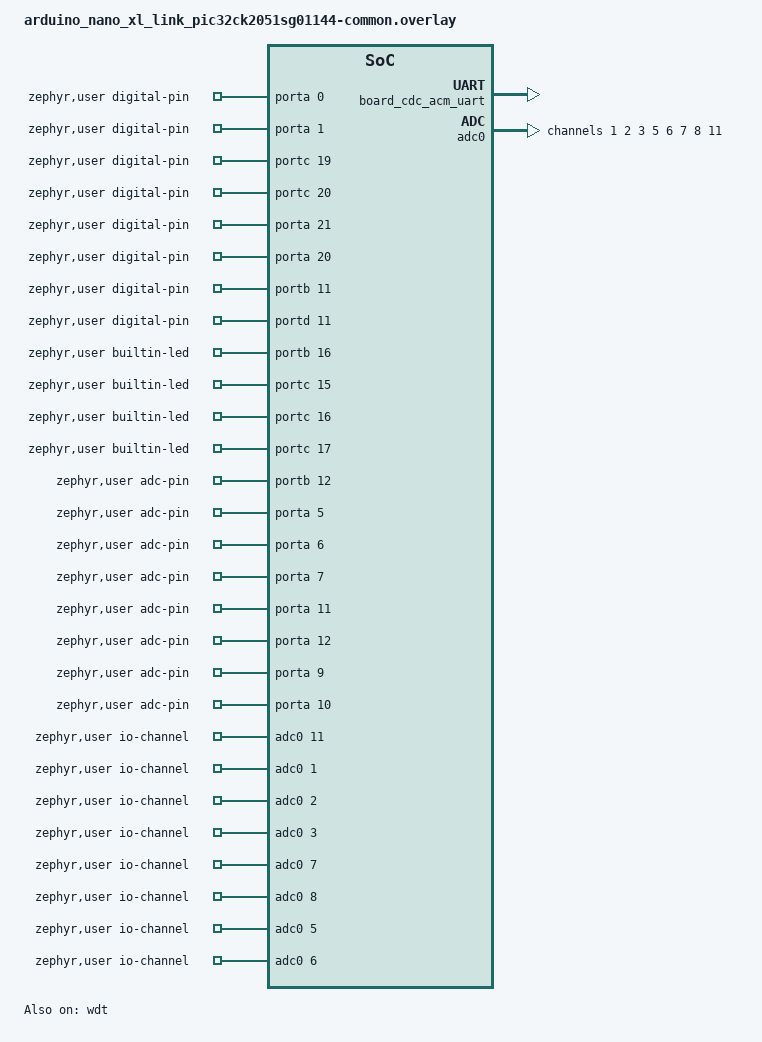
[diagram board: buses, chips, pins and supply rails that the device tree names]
/*
 * Copyright (c) 2026 Arduino SA
 *
 * SPDX-License-Identifier: Apache-2.0
 */

/*
 * Shared between the "nanoxllink" and "nanoxllink_monica" boards, which
 * both build out of this variant directory. Anything that differs between
 * the bare Nano XL Link module and the Monica carrier
 * (console/log routing, TCC2/D7 PWM, "serials" list, "pwms"/"pwm-pin-gpios")
 * is intentionally left out of this file - each variant's own .overlay
 * defines those itself.
 */

#include <zephyr/dt-bindings/adc/adc.h>
#include <zephyr/dt-bindings/pwm/pwm.h>

&zephyr_udc0 {
	board_cdc_acm_uart: board_cdc_acm_uart {
		compatible = "zephyr,cdc-acm-uart";
		status = "okay";
	};
};

&pinctrl {
	sercom2_spi_arduino: sercom2_spi_arduino {
		group1 {
			pinmux = <PC21C_SERCOM2_PAD0>, /* MOSI */
				 <PC23C_SERCOM2_PAD3>, /* MISO */
				 <PC22C_SERCOM2_PAD1>; /* SCK */
		};
	};

	sercom5_spi_arduino: sercom5_spi_arduino {
		group1 {
			pinmux = <PA27C_SERCOM5_PAD3>, /* MOSI */
				 <PA24C_SERCOM5_PAD0>, /* MISO */
				 <PA25C_SERCOM5_PAD1>; /* SCK */
		};
	};

	empty_default: empty_default {
		group1 {
			pinmux = <>;
		};
	};

	adc0_arduino: adc0_arduino {
		group1 {
			pinmux = <PB12B_ADC_VINP11>,
				 <PA5B_ADC_VINP1>,
				 <PA6B_ADC_VINP2>,
				 <PA7B_ADC_VINP3>,
				 <PA11B_ADC_VINP7>,
				 <PA12B_ADC_VINP8>,
				 <PA9B_ADC_VINP5>,
				 <PA10B_ADC_VINP6>;
		};
	};

	tcc1_arduino: tcc1_arduino {
		group1 {
			pinmux = <PC19F_TCC1_WO4>,
				 <PC20F_TCC1_WO5>,
				 <PC15F_TCC1_WO0>,
				 <PC16F_TCC1_WO1>,
				 <PC17F_TCC1_WO2>;
		};
	};

	tcc4_arduino: tcc4_arduino {
		group1 {
			pinmux = <PA21F_TCC4_WO1>,
				 <PA20F_TCC4_WO0>;
		};
	};

	tcc3_arduino_wo0: tcc3_arduino_wo0 {
		group1 {
			pinmux = <PB11G_TCC3_WO6>;
		};
	};

	tcc5_arduino_wo1: tcc5_arduino_wo1 {
		group1 {
			pinmux = <PA23F_TCC5_WO1>;
		};
	};

	tcc6_arduino_wo1: tcc6_arduino_wo1 {
		group1 {
			pinmux = <PB24F_TCC6_WO1>;
		};
	};
};

&adc0 {
	zephyr,deferred-init;
	pinctrl-0 = <&empty_default>;
	pinctrl-1 = <&empty_default>;
	pinctrl-2 = <&adc0_arduino>;
	pinctrl-names = "default", "sleep", "arduino";

	#address-cells = <1>;
	#size-cells = <0>;

	channel@1 {
		reg = <1>;
		zephyr,gain = "ADC_GAIN_1";
		zephyr,reference = "ADC_REF_VDD_1";
		zephyr,acquisition-time = <ADC_ACQ_TIME_MAX>;
		zephyr,resolution = <12>;
	};

	channel@2 {
		reg = <2>;
		zephyr,gain = "ADC_GAIN_1";
		zephyr,reference = "ADC_REF_VDD_1";
		zephyr,acquisition-time = <ADC_ACQ_TIME_MAX>;
		zephyr,resolution = <12>;
	};

	channel@3 {
		reg = <3>;
		zephyr,gain = "ADC_GAIN_1";
		zephyr,reference = "ADC_REF_VDD_1";
		zephyr,acquisition-time = <ADC_ACQ_TIME_MAX>;
		zephyr,resolution = <12>;
	};

	channel@5 {
		reg = <5>;
		zephyr,gain = "ADC_GAIN_1";
		zephyr,reference = "ADC_REF_VDD_1";
		zephyr,acquisition-time = <ADC_ACQ_TIME_MAX>;
		zephyr,resolution = <12>;
	};

	channel@6 {
		reg = <6>;
		zephyr,gain = "ADC_GAIN_1";
		zephyr,reference = "ADC_REF_VDD_1";
		zephyr,acquisition-time = <ADC_ACQ_TIME_MAX>;
		zephyr,resolution = <12>;
	};

	channel@7 {
		reg = <7>;
		zephyr,gain = "ADC_GAIN_1";
		zephyr,reference = "ADC_REF_VDD_1";
		zephyr,acquisition-time = <ADC_ACQ_TIME_MAX>;
		zephyr,resolution = <12>;
	};

	channel@8 {
		reg = <8>;
		zephyr,gain = "ADC_GAIN_1";
		zephyr,reference = "ADC_REF_VDD_1";
		zephyr,acquisition-time = <ADC_ACQ_TIME_MAX>;
		zephyr,resolution = <12>;
	};

	channel@b {
		reg = <11>;
		zephyr,gain = "ADC_GAIN_1";
		zephyr,reference = "ADC_REF_VDD_1";
		zephyr,acquisition-time = <ADC_ACQ_TIME_MAX>;
		zephyr,resolution = <12>;
	};
};

&sercom4 {
	zephyr,deferred-init;
};

&sercom3 {
	zephyr,deferred-init;
};

&sercom2 {
	zephyr,deferred-init;
	pinctrl-0 = <&sercom2_spi_arduino>;
};

&sercom5 {
	zephyr,deferred-init;
	pinctrl-0 = <&sercom5_spi_arduino>;
};

&can0 {
	zephyr,deferred-init;
};

&tcc1 {
	zephyr,deferred-init;
	pinctrl-0 = <&empty_default>;
	pinctrl-1 = <&empty_default>;
	pinctrl-2 = <&tcc1_arduino>;
	pinctrl-names = "default", "sleep", "arduino";
};

&tcc3 {
	zephyr,deferred-init;
	pinctrl-0 = <&empty_default>;
	pinctrl-1 = <&empty_default>;
	pinctrl-2 = <&tcc3_arduino_wo0>;
	pinctrl-names = "default", "sleep", "arduino";
};

&tcc4 {
	zephyr,deferred-init;
	pinctrl-0 = <&empty_default>;
	pinctrl-1 = <&empty_default>;
	pinctrl-2 = <&tcc4_arduino>;
	pinctrl-names = "default", "sleep", "arduino";
};

&tcc5 {
	zephyr,deferred-init;
	pinctrl-0 = <&empty_default>;
	pinctrl-1 = <&empty_default>;
	pinctrl-2 = <&tcc5_arduino_wo1>;
	pinctrl-names = "default", "sleep", "arduino";
};

&tcc6 {
	zephyr,deferred-init;
	pinctrl-0 = <&empty_default>;
	pinctrl-1 = <&empty_default>;
	pinctrl-2 = <&tcc6_arduino_wo1>;
	pinctrl-names = "default", "sleep", "arduino";
};

/*
 * Flash layout, defined once in the board devicetree so the loader and
 * MCUboot cannot disagree. BFM and PFM are separate flash devices:
 *
 *   flash0 0x08000000  64K  boot_partition  MCUboot, active BFM Dual-Boot slot
 *   flash1 0x0C000000   1M  slot0 (image-0) loader + sketch, one image
 *   flash1 0x0C100000   1M  slot1 (image-1) DFU staging, copied over slot0
 *
 * Each slot is one 1 MB PFM panel. MCUboot is reached directly by the
 * hardware reset vector; the spare 64K BFM slot is not declared.
 *
 * zephyr-sketch-tool --squash appends the sketch to the erase-block padded
 * loader and hashes both as a single MCUboot image; the loader finds the
 * sketch at the offset stored after the MCUboot header
 * (CONFIG_LOADER_SKETCH_IN_MCUBOOT_IMAGE). Uploads go to slot1 over USB DFU
 * and MCUboot overwrites slot0 with them after checking the hash.
 *
 * upload.maximum_size follows automatically: extra/build.sh derives it from
 * this table and the signed loader size into boards.local.txt.
 */

/* Started by MCUboot, fed by the loader (CONFIG_APP_WATCHDOG_ENFORCED). */
&wdt {
	status = "okay";
};

/ {
	zephyr,user {
		digital-pin-gpios = <&porta 0 0>, /* D0 UART6 TX */
				    <&porta 1 0>,  /* D1 UART6 RX */
				    <&portc 19 0>, /* D2 */
				    <&portc 20 0>, /* D3 */
				    <&porta 21 0>, /* D4 */
				    <&porta 20 0>, /* D5 */
				    <&portb 11 0>, /* D6 */
				    <&portd 11 0>, /* D7 */
				    <&porta 23 0>, /* D8 */
				    <&portb 24 0>, /* D9 */
				    <&porta 26 0>, /* D10 SPI5 CS */
				    <&porta 27 0>, /* D11 SPI5 MOSI */
				    <&porta 24 0>, /* D12 SPI5 MISO */
				    <&porta 25 0>, /* D13 SPI5 SCK */
				    <&portb 12 0>, /* D14 A0 */
				    <&porta 5 0>,  /* D15 A1 */
				    <&porta 6 0>,  /* D16 A2 */
				    <&porta 7 0>,  /* D17 A3 */
				    <&porta 11 0>, /* D18 A4 */
				    <&porta 12 0>, /* D19 A5 */
				    <&porta 9 0>,  /* D20 A6 */
				    <&porta 10 0>, /* D21 A7 */
				    <&portc 21 0>, /* D22 SPI2 MOSI */
				    <&portc 23 0>, /* D23 SPI2 MISO */
				    <&portc 22 0>, /* D24 SPI2 SCK */
				    <&portc 14 0>, /* D25 SPI2 CS */
				    <&portb 21 0>, /* D26 I2C3 SDA */
				    <&portb 22 0>, /* D27 I2C3 SCL */
				    <&portd 14 0>, /* D28 I2S CK */
				    <&portd 13 0>, /* D29 I2S WS */
				    <&portd 16 0>, /* D30 I2S SDI */
				    <&portd 17 0>, /* D31 I2S SDO */
				    <&portd 8 0>, /* D32 UART1 TX */
				    <&portd 9 0>, /* D33 UART1 RX */
				    <&portb 4 0>, /* D34 I2C4 SDA */
				    <&portb 5 0>, /* D35 I2C4 SCL */
				    <&portb 14 0>, /* D36 Ethernet interrupt */
				    <&portb 15 0>, /* D37 Ethernet reset */
				    <&portb 16 0>, /* D38 LED_BUILTIN */
				    <&portc 15 0>, /* D39 LEDR */
				    <&portc 16 0>, /* D40 LEDG */
				    <&portc 17 0>, /* D41 LEDB */
				    <&portd 5 0>, /* D42 RS485 DE */
				    <&portd 12 0>; /* D43 RS485 /RE */

		builtin-led-gpios = <&portb 16 0>,
					    <&portc 15 0>,
					    <&portc 16 0>,
					    <&portc 17 0>;

		cdc-acm-serial = <&board_cdc_acm_uart>; /* 'Serial' object is managed by SerialUSB */

		cans = <&can0>;

		i2cs = <&sercom4>, <&sercom3>;
		spis = <&sercom5>, <&sercom2>;

		adc-pin-gpios = <&portb 12 0>,
				<&porta 5 0>,
				<&porta 6 0>,
				<&porta 7 0>,
				<&porta 11 0>,
				<&porta 12 0>,
				<&porta 9 0>,
				<&porta 10 0>;

		io-channels = <&adc0 11>,
			      <&adc0 1>,
			      <&adc0 2>,
			      <&adc0 3>,
			      <&adc0 7>,
			      <&adc0 8>,
			      <&adc0 5>,
			      <&adc0 6>;
	};
};
